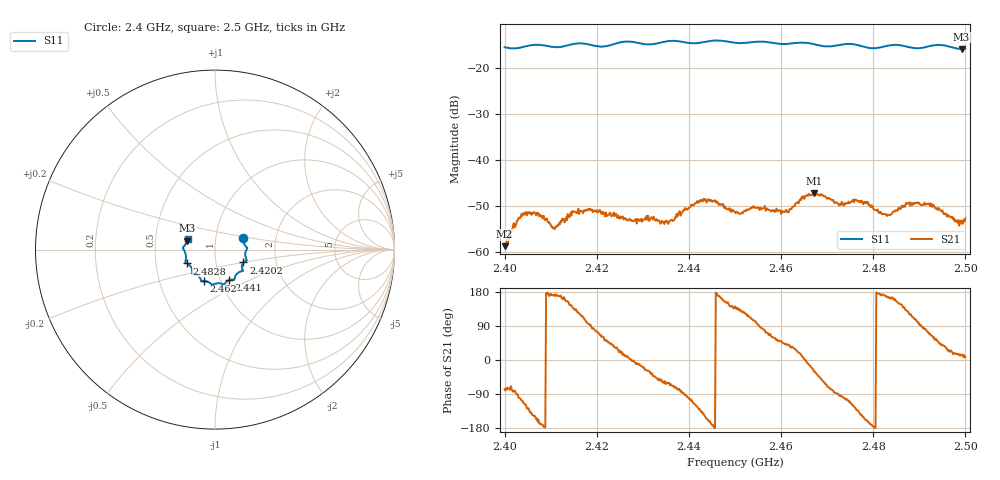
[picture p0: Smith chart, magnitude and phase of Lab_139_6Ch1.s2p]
# Hz S RI R 50
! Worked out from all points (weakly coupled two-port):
!   601 points, 2.4 GHz to 2.5 GHz, reference 50 ohm
!   highest |S21| = -47.31 dB at 2.4672 GHz (marker M1); lowest = -58.8 dB at 2.4 GHz (marker M2)
!   lowest |S11| = -15.8 dB at 2.4992 GHz (marker M3), VSWR 1.39, Z = 36.4 + j3.71 ohm
!   |S11| at or under -10 dB: start of sweep to end of sweep
!   S12 and S22 are empty: the file has one direction only
!   S11 on the Smith chart (normalised r, x): 2.4 GHz: 1.36, +0.17; 2.4202 GHz: 1.36, -0.20; 2.441 GHz: 1.10, -0.39; 2.462 GHz: 0.84, -0.30; 2.4828 GHz: 0.72, -0.11; 2.5 GHz: 0.73, +0.09
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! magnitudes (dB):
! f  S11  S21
! 2.4 GHz  -15.4  -58.8
! 2.4042 GHz  -15.3  -51.5
! 2.4075 GHz  -14.9  -52.3
! 2.4107 GHz  -15.4  -54.7
! 2.4167 GHz  -14.6  -51.2
! 2.4202 GHz  -15.2  -51.4
! 2.4333 GHz  -14.5  -53.2
! 2.436 GHz  -14.0  -53.1
! 2.441 GHz  -14.5  -49.9
! 2.4452 GHz  -14.0  -49.1
! 2.45 GHz  -14.4  -51.4
! 2.462 GHz  -14.6  -50.7
! 2.4667 GHz  -14.6  -47.6
! 2.4672 GHz  -14.7  -47.3
! 2.4725 GHz  -15.0  -49.7
! 2.4785 GHz  -15.4  -49.4
! 2.4828 GHz  -15.1  -51.8
! 2.4833 GHz  -15.0  -52.0
! 2.4873 GHz  -15.3  -49.6
! 2.4917 GHz  -15.3  -49.7
! 2.4992 GHz  -15.8  -53.2
! 2.5 GHz  -15.7  -52.8
